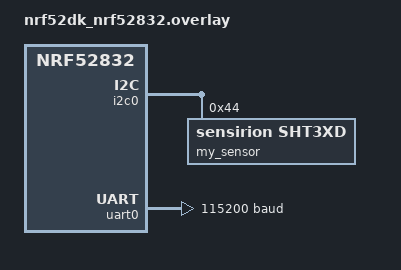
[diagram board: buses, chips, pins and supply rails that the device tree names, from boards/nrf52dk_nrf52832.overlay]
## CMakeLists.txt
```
cmake_minimum_required(VERSION 3.20.0)
find_package(Zephyr REQUIRED HINTS $ENV{ZEPHYR_BASE})

project(environmental_logger)

target_include_directories(app PRIVATE include)

target_sources(app PRIVATE 
                src/main.c
                src/sensor_task.c
                src/uart_task.c
                src/button_handler.c
                src/led_handler.c)
```

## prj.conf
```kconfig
CONFIG_GPIO=y
CONFIG_I2C=y
CONFIG_SENSOR=y
CONFIG_SHT3XD=y

CONFIG_LOG=y
CONFIG_LOG_DEFAULT_LEVEL=3

CONFIG_UART_ASYNC_API=y
CONFIG_SERIAL=y
CONFIG_UART_CONSOLE=n

CONFIG_MULTITHREADING=y
CONFIG_CBPRINTF_FP_SUPPORT=y
CONFIG_NEWLIB_LIBC=y
CONFIG_NEWLIB_LIBC_FLOAT_PRINTF=y
```

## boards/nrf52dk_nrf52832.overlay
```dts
/ {
    aliases {
        my-sensor = &my_sensor;  // Points to sensor node
    };
};

&i2c0 {
    // Add SHT31 sensor  
    my_sensor: sensor@44 {
        compatible = "sensirion,sht3xd";
        reg = <0x44>;  // I2C address
        status = "okay";
    };
};

&uart0 {
    status = "okay";
    current-speed = <115200>;
};
```

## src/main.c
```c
#include <zephyr/kernel.h>
#include <zephyr/logging/log.h>
#include <zephyr/sys/util.h>

#include "sensor_task.h"
#include "uart_task.h"
#include "button_handler.h"
#include "common.h"
#include "led_handler.h"

// Thread defines
#define MY_THREAD_STACK_SIZE 	1024
#define MY_THREAD_PRIORITY 		5

LOG_MODULE_REGISTER(main);

// Thread stack defines
K_THREAD_STACK_DEFINE(my_sensor_thread, MY_THREAD_STACK_SIZE);
K_THREAD_STACK_DEFINE(my_uart_thread, MY_THREAD_STACK_SIZE);
static struct k_thread my_sensor_thread_data, my_uart_thread_data;

// Mutex + Message queue definitions
bool logging_enabled = true;
K_MUTEX_DEFINE(logging_mutex);
K_MSGQ_DEFINE(sensor_queue, sizeof(struct sensor_message), 5, 4);

const struct gpio_dt_spec my_led0 = GPIO_DT_SPEC_GET(LED0_NODE, gpios);

int main(void)
{
	LOG_INF("Environmental logger starting up!");
	
	// Init mutex
	k_mutex_init(&logging_mutex);

	// Init sensor, button, LED
    init_sensor();
	init_button();
	init_led_handler();
	

	// Create threads for sensor + uart
	k_thread_create(&my_sensor_thread_data, my_sensor_thread, MY_THREAD_STACK_SIZE, 
						my_sensor_thread_function, NULL, NULL, 
						NULL,MY_THREAD_PRIORITY, 0, K_NO_WAIT);

	k_thread_create(&my_uart_thread_data, my_uart_thread, MY_THREAD_STACK_SIZE, 
                        my_uart_thread_function, NULL, NULL, 
                        NULL, MY_THREAD_PRIORITY, 0, K_NO_WAIT);


	return 0;
}
```

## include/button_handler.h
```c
#ifndef BUTTON_HANDLER_H
#define BUTTON_HANDLER_H

#include <zephyr/kernel.h>
#include <zephyr/logging/log.h>
#include <zephyr/drivers/gpio.h>

#define SW0_NODE				DT_ALIAS(sw0)


void button_press_handler(const struct device *dev, 
    struct gpio_callback *cb, gpio_port_pins_t pins);
void init_button(void);


#endif
```

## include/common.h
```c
#ifndef COMMON_H
#define COMMON_H

#include <zephyr/drivers/gpio.h>

extern const struct gpio_dt_spec my_led0;
extern struct k_msgq sensor_queue;
extern struct k_mutex logging_mutex;
extern bool logging_enabled;

struct sensor_message {
    double temp;
    double humidity;
};

#endif
```

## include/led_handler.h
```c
#ifndef LED_HANDLER_H
#define LED_HANDLER_H

#include <zephyr/kernel.h>

#define LED0_NODE	DT_ALIAS(led0)

void init_led_handler(void);
void led_on(void);
void led_off(void);
void led_toggle(void);

#endif
```

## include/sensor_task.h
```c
#ifndef SENSOR_TASK_H
#define SENSOR_TASK_H

#include <zephyr/kernel.h>

#define MY_SENSOR_NODE DT_ALIAS(my_sensor)

void init_sensor(void);
void my_sensor_thread_function(void *p1, void *p2, void *p3);

#endif
```

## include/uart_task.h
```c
#ifndef UART_TASK_H
#define UART_TASK_H

#include <zephyr/kernel.h>

void my_uart_thread_function(void *p1, void *p2, void *p3);

#endif
```

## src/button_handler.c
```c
#include "button_handler.h"
#include "common.h"
#include <zephyr/drivers/gpio.h>
#include <zephyr/logging/log.h>
#include "led_handler.h"

LOG_MODULE_REGISTER(button_handler);

static const struct gpio_dt_spec button = GPIO_DT_SPEC_GET(SW0_NODE, gpios);
static struct gpio_callback button_cb_data;

void button_press_handler(const struct device *dev, struct gpio_callback *cb, gpio_port_pins_t pins)
{
	k_mutex_lock(&logging_mutex, K_FOREVER);

	// toggle logging enabled since button was pressed
	logging_enabled = !logging_enabled;

	if (logging_enabled) {
		LOG_INF("Sensor logging enabled!");
		led_on();
	} else {
		LOG_INF("Sensor logging disabled!");
		led_off();
	}
	
	k_mutex_unlock(&logging_mutex);
}

void init_button(void) {
    // Check if button is ready
	if (!gpio_is_ready_dt(&button)) {
		LOG_ERR("Button is not ready.");
		return;
	}

	// configure the button as an input
	int ret_button = gpio_pin_configure_dt(&button, GPIO_INPUT);
	ret_button = gpio_pin_interrupt_configure_dt(&button, GPIO_INT_EDGE_TO_ACTIVE);
	if (ret_button != 0) {
		LOG_ERR("Failed to configure button.");
		return;
	}

    // init callback
	gpio_init_callback(&button_cb_data, button_press_handler, BIT(button.pin));
	gpio_add_callback(button.port, &button_cb_data);
}
```

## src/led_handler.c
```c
#include "led_handler.h"
#include <zephyr/drivers/gpio.h>
#include <zephyr/logging/log.h>

LOG_MODULE_REGISTER(led_handler, LOG_LEVEL_INF);

static const struct gpio_dt_spec my_led0 = GPIO_DT_SPEC_GET(LED0_NODE, gpios);

void init_led_handler(void) {
    // Check if LED is ready
	if (!gpio_is_ready_dt(&my_led0)){
		LOG_ERR("LED is not ready.");
		return;
	}

    // Configure button as output
	int ret_led = gpio_pin_configure_dt(&my_led0, GPIO_OUTPUT_ACTIVE);
	if (ret_led != 0) {
		LOG_ERR("Failed to configure LED1");
		return;
	}
}

void led_on(void) {
    gpio_pin_set_dt(&my_led0, 1);
}

void led_off(void) {
    gpio_pin_set_dt(&my_led0, 0);
}

void led_toggle(void) {
    gpio_pin_toggle_dt(&my_led0);
}
```

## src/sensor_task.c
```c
#include "sensor_task.h"
#include "common.h"
#include <zephyr/drivers/sensor.h>
#include <zephyr/logging/log.h>
#include <zephyr/drivers/gpio.h>
#include "led_handler.h"

LOG_MODULE_REGISTER(sensor_task);
static const struct device *sensor_device;

void init_sensor(void) {
    sensor_device = DEVICE_DT_GET(MY_SENSOR_NODE);

    if (!device_is_ready(sensor_device)){
		// handle error
		LOG_ERR("Sensor is not ready");
		return;
	}
	LOG_INF("Sensor is ready.");
}
void my_sensor_thread_function(void *p1, void *p2, void *p3) {
	struct sensor_message msg;
	bool is_logging;

	while (1) {
		k_mutex_lock(&logging_mutex, K_FOREVER);
		is_logging = logging_enabled;
		k_mutex_unlock(&logging_mutex);


		
		if (is_logging) {
            
			struct sensor_value temp, humidity;
			int ret = sensor_sample_fetch(sensor_device);

			if (ret < 0) {
				LOG_ERR("Failed to fetch temperature and humidity.");
                led_off();
                k_sleep(K_MSEC(2000));
                continue;
			} else {
				LOG_INF("Temperature and humidity Fetched.");

			}


			// Read humidity and temperature + add to message queue
			int ret_humidity = sensor_channel_get(sensor_device, SENSOR_CHAN_HUMIDITY, &humidity);
			int ret_temp= sensor_channel_get(sensor_device, SENSOR_CHAN_AMBIENT_TEMP, &temp);
			if (ret_humidity < 0) {
				LOG_ERR("Failed to get humidity. Error: %d", ret_humidity);
                led_off();
				break;
			} else if(ret_temp < 0) {
				LOG_ERR("Failed to get temperature. Error: %d", ret_temp);
                led_off();
				break;
			}
			else {
				msg.temp = sensor_value_to_double(&temp);
				msg.humidity = sensor_value_to_double(&humidity);
				k_msgq_put(&sensor_queue, &msg, K_NO_WAIT);
                led_toggle();
			}
		} else {
            // When logging is disabled, turn LED off
            led_off();
        }
        
		k_sleep(K_MSEC(2000)); // sleep for 2 seconds
	}
}
```

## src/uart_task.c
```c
#include "uart_task.h"
#include "common.h"
#include <stdio.h>
#include <zephyr/drivers/uart.h>
#include <zephyr/logging/log.h>

#define UART_NODE DT_NODELABEL(uart0)
#define BUFFER_SIZE 50

LOG_MODULE_REGISTER(uart_task);

static const struct device *uart_dev;


void my_uart_thread_function(void *p1, void *p2, void *p3) {
	struct sensor_message msg;
	char buf[BUFFER_SIZE];
	int len;

	uart_dev = DEVICE_DT_GET(UART_NODE);

	if (!device_is_ready(uart_dev)) {
		LOG_ERR("UART device is not ready.");
		return;
	}

	while (1) {
		int ret = k_msgq_get(&sensor_queue, &msg, K_FOREVER);
		if (ret == 0) {
			// LOG_INF("Temperature = %.2f C, Humidity = %.2f%%", (double)msg.temp, (double)msg.humidity);
			len = snprintf(buf, sizeof(buf),
							"Temperature: %.2f C, Humidity %.2f %%\r\n",
						msg.temp, msg.humidity);
			for (int i = 0; i < len; i++) {
				uart_poll_out(uart_dev, buf[i]);
			}
		}
	}
}
```
